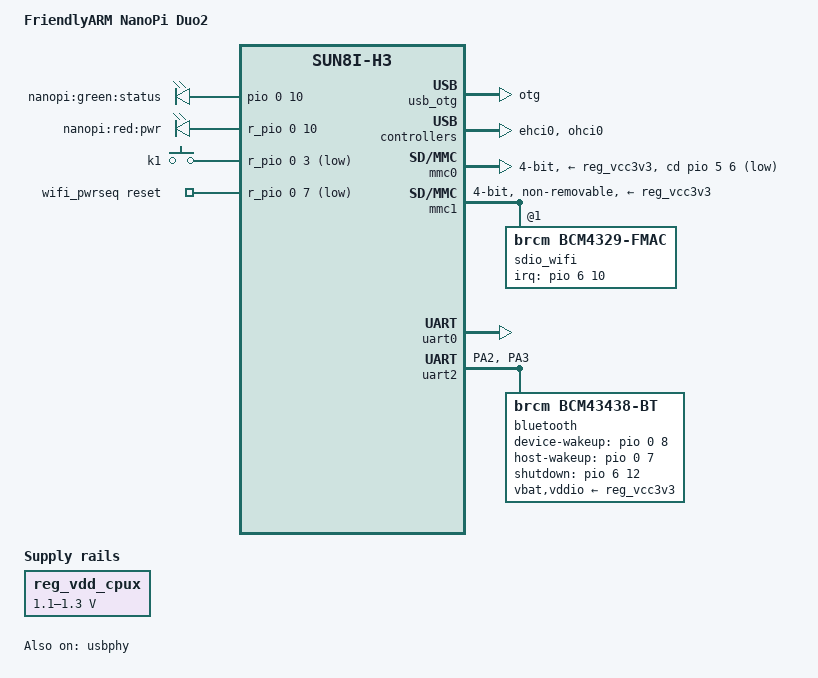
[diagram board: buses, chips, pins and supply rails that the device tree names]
/*
 * Copyright (C) 2018 Karl Palsson <karlp@tweak.net.au>
 *
 * This file is dual-licensed: you can use it either under the terms
 * of the GPL or the X11 license, at your option. Note that this dual
 * licensing only applies to this file, and not this project as a
 * whole.
 *
 *  a) This file is free software; you can redistribute it and/or
 *     modify it under the terms of the GNU General Public License as
 *     published by the Free Software Foundation; either version 2 of the
 *     License, or (at your option) any later version.
 *
 *     This file is distributed in the hope that it will be useful,
 *     but WITHOUT ANY WARRANTY; without even the implied warranty of
 *     MERCHANTABILITY or FITNESS FOR A PARTICULAR PURPOSE.  See the
 *     GNU General Public License for more details.
 *
 * Or, alternatively,
 *
 *  b) Permission is hereby granted, free of charge, to any person
 *     obtaining a copy of this software and associated documentation
 *     files (the "Software"), to deal in the Software without
 *     restriction, including without limitation the rights to use,
 *     copy, modify, merge, publish, distribute, sublicense, and/or
 *     sell copies of the Software, and to permit persons to whom the
 *     Software is furnished to do so, subject to the following
 *     conditions:
 *
 *     The above copyright notice and this permission notice shall be
 *     included in all copies or substantial portions of the Software.
 *
 *     THE SOFTWARE IS PROVIDED "AS IS", WITHOUT WARRANTY OF ANY KIND,
 *     EXPRESS OR IMPLIED, INCLUDING BUT NOT LIMITED TO THE WARRANTIES
 *     OF MERCHANTABILITY, FITNESS FOR A PARTICULAR PURPOSE AND
 *     NONINFRINGEMENT. IN NO EVENT SHALL THE AUTHORS OR COPYRIGHT
 *     HOLDERS BE LIABLE FOR ANY CLAIM, DAMAGES OR OTHER LIABILITY,
 *     WHETHER IN AN ACTION OF CONTRACT, TORT OR OTHERWISE, ARISING
 *     FROM, OUT OF OR IN CONNECTION WITH THE SOFTWARE OR THE USE OR
 *     OTHER DEALINGS IN THE SOFTWARE.
 */

/dts-v1/;
#include "sun8i-h3.dtsi"
#include "sunxi-common-regulators.dtsi"

#include <dt-bindings/gpio/gpio.h>
#include <dt-bindings/input/input.h>

/ {
	model = "FriendlyARM NanoPi Duo2";
	compatible = "friendlyarm,nanopi-duo2", "allwinner,sun8i-h3";

	aliases {
		serial0 = &uart0;
	};

	chosen {
		stdout-path = "serial0:115200n8";
	};

	leds {
		compatible = "gpio-leds";

		status {
			label = "nanopi:green:status";
			gpios = <&pio 0 10 GPIO_ACTIVE_HIGH>;
			linux,default-trigger = "heartbeat";
		};

		pwr {
			label = "nanopi:red:pwr";
			gpios = <&r_pio 0 10 GPIO_ACTIVE_HIGH>;
			default-state = "on";
		};
	};

	r_gpio_keys {
		compatible = "gpio-keys";

		k1 {
			label = "k1";
			linux,code = <KEY_BTN0>;
			gpios = <&r_pio 0 3 GPIO_ACTIVE_LOW>;
		};
	};

	reg_vdd_cpux: vdd-cpux-regulator {
		compatible = "regulator-gpio";
		regulator-name = "vdd-cpux";
		regulator-boot-on;
		regulator-always-on;
		regulator-min-microvolt = <1100000>;
		regulator-max-microvolt = <1300000>;
		regulator-ramp-delay = <50>; /* 4ms */

		gpios = <&r_pio 0 6 GPIO_ACTIVE_HIGH>; /* PL6 */
		enable-active-high;
		gpios-states = <0x1>; /* can I confirm this?, this is default state */
		states = <1100000 0x0
			  1300000 0x1>;
	};

	wifi_pwrseq: wifi_pwrseq {
		compatible = "mmc-pwrseq-simple";
		reset-gpios = <&r_pio 0 7 GPIO_ACTIVE_LOW>; /* PL7 */
	};

};

&cpu0 {
	cpu-supply = <&reg_vdd_cpux>;
};

&usb_otg {
	status = "okay";
	dr_mode = "otg";
};

&ehci0 {
	status = "okay";
};

&ohci0 {
	status = "okay";
};

&reg_usb0_vbus {
	gpio = <&r_pio 0 2 GPIO_ACTIVE_HIGH>; /* PL2 */
	status = "okay";
};

/* FIXME this block should move to sunxi-h3-h5.dtsi */
&pio {
	uart2_rts_cts_pins: uart2_rts_cts {
		pins = "PA2", "PA3";
		function = "uart2";
	};
};

&usbphy {
	usb0_id_det-gpios = <&pio 6 12 GPIO_ACTIVE_HIGH>; /* PG12 */
	usb0_vbus-supply = <&reg_usb0_vbus>;
	status = "okay";
};

&mmc0 {
	bus-width = <4>;
	cd-gpios = <&pio 5 6 GPIO_ACTIVE_LOW>;
	status = "okay";
	vmmc-supply = <&reg_vcc3v3>;
};

&mmc1 {
	vmmc-supply = <&reg_vcc3v3>;
	vqmmc-supply = <&reg_vcc3v3>;
	mmc-pwrseq = <&wifi_pwrseq>;
	bus-width = <4>;
	non-removable;
	status = "okay";

	sdio_wifi: sdio_wifi@1 {
		reg = <1>;
		compatible = "brcm,bcm4329-fmac";
		interrupt-parent = <&pio>;
		interrupts = <6 10 IRQ_TYPE_LEVEL_LOW>; /* PG10 / EINT10 */
		interrupt-names = "host-wake";
	};
};

&uart0 {
	pinctrl-names = "default";
	pinctrl-0 = <&uart0_pins_a>;
	status = "okay";
};

&uart2 {
	pinctrl-names = "default";
	pinctrl-0 = <&uart2_pins>, <&uart2_rts_cts_pins>;
	uart-has-rtscts;
	status = "okay";

	bluetooth {
		compatible = "brcm,bcm43438-bt";
		clocks = <&osc32k 1>;
		clock-names = "lpo";
		vbat-supply = <&reg_vcc3v3>;
		vddio-supply = <&reg_vcc3v3>;
		device-wakeup-gpios = <&pio 0 8 GPIO_ACTIVE_HIGH>; /* PA8 */
		host-wakeup-gpios = <&pio 0 7 GPIO_ACTIVE_HIGH>; /* PA7 */
		shutdown-gpios = <&pio 6 12 GPIO_ACTIVE_HIGH>; /* PG13 */
	};
};
